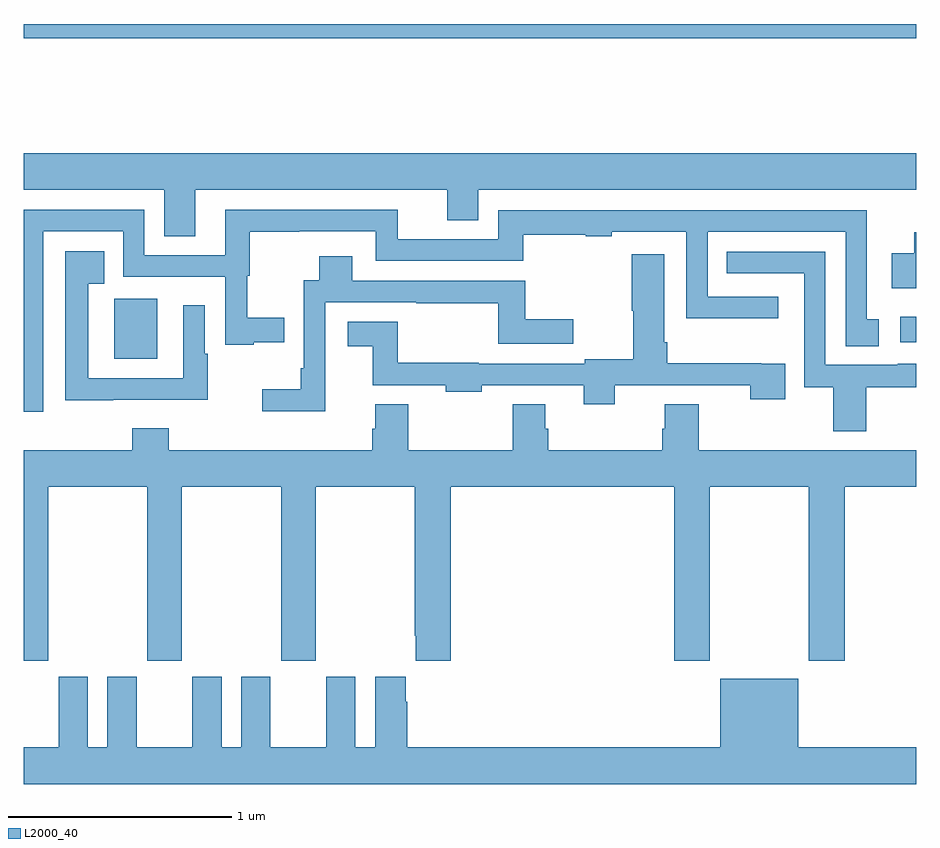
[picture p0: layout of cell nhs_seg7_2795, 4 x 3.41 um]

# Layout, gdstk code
import gdstk
lib = gdstk.Library(unit=1e-6, precision=1e-09)
def R(c, l, rs):  # rectangles x0, y0, x1, y1
    for r in rs: c.add(gdstk.rectangle(r[:2], r[2:], *l))
def P(c, l, *ps):  # polygons
    for p in ps: c.add(gdstk.Polygon(p, *l))
L2000_40 = (2000, 40)

nhs_seg7_2795 = lib.new_cell('nhs_seg7_2795')
R(nhs_seg7_2795, L2000_40, [(291.404,1026.5,291.598,1026.768), (294.93,1026.573,295,1026.688), (291,1027.936,295,1028)])
P(nhs_seg7_2795, L2000_40, [(291.769,1027.256),(292.898,1027.256),(292.898,1027.12),(293.038,1027.12),(293.038,1027.256),(295,1027.256),(295,1027.42),(291,1027.42),(291,1027.256),(291.629,1027.256),(291.629,1027.048),(291.769,1027.048)],
  [(291.087,1027.071),(291.444,1027.071),(291.444,1026.867),(291.903,1026.867),(291.903,1026.561),(292.031,1026.561),(292.031,1026.572),(292.168,1026.572),(292.168,1026.682),(292.002,1026.682),(292.002,1026.87),(292.012,1026.87),(292.012,1027.069),(292.235,1027.069),(292.235,1027.071),(292.578,1027.071),(292.578,1026.939),(293.239,1026.939),(293.239,1027.055),(293.52,1027.055),(293.52,1027.048),(293.636,1027.048),(293.636,1027.068),(293.97,1027.068),(293.97,1026.68),(294.382,1026.68),(294.382,1026.777),(294.066,1026.777),(294.066,1027.068),(294.684,1027.068),(294.684,1026.556),(294.832,1026.556),(294.832,1026.675),(294.78,1026.675),(294.78,1027.164),(293.127,1027.164),(293.127,1027.035),(292.677,1027.035),(292.677,1027.167),(291.902,1027.167),(291.902,1026.963),(291.54,1026.963),(291.54,1027.167),(291,1027.167),(291,1026.261),(291.087,1026.261)],
  [(295,1027.066),(294.992,1027.066),(294.992,1026.973),(294.891,1026.973),(294.891,1026.815),(295,1026.815)],
  [(291.401,1026.315),(291.823,1026.315),(291.823,1026.522),(291.81,1026.522),(291.81,1026.739),(291.714,1026.739),(291.714,1026.411),(291.289,1026.411),(291.289,1026.836),(291.359,1026.836),(291.359,1026.982),(291.185,1026.982),(291.185,1026.313),(291.401,1026.313)],
  [(294.777,1026.37),(295,1026.37),(295,1026.477),(294.918,1026.477),(294.918,1026.471),(294.594,1026.471),(294.594,1026.978),(294.151,1026.978),(294.151,1026.882),(294.498,1026.882),(294.498,1026.37),(294.629,1026.37),(294.629,1026.174),(294.777,1026.174)],
  [(293.65,1026.381),(294.257,1026.381),(294.257,1026.318),(294.413,1026.318),(294.413,1026.477),(294.305,1026.477),(294.305,1026.478),(293.885,1026.478),(293.885,1026.574),(293.872,1026.574),(293.872,1026.967),(293.725,1026.967),(293.725,1026.714),(293.732,1026.714),(293.732,1026.497),(293.514,1026.497),(293.514,1026.477),(293.04,1026.477),(293.04,1026.482),(292.675,1026.482),(292.675,1026.664),(292.452,1026.664),(292.452,1026.554),(292.565,1026.554),(292.565,1026.381),(292.892,1026.381),(292.892,1026.35),(293.052,1026.35),(293.052,1026.381),(293.51,1026.381),(293.51,1026.296),(293.65,1026.296)],
  [(292.352,1026.753),(292.759,1026.753),(292.759,1026.748),(293.127,1026.748),(293.127,1026.567),(293.464,1026.567),(293.464,1026.676),(293.248,1026.676),(293.248,1026.849),(292.471,1026.849),(292.471,1026.958),(292.324,1026.958),(292.324,1026.852),(292.254,1026.852),(292.254,1026.457),(292.242,1026.457),(292.242,1026.362),(292.068,1026.362),(292.068,1026.263),(292.352,1026.263)],
  [(291.108,1025.924),(291.553,1025.924),(291.553,1025.145),(291.708,1025.145),(291.708,1025.924),(292.153,1025.924),(292.153,1025.145),(292.308,1025.145),(292.308,1025.924),(292.753,1025.924),(292.753,1025.257),(292.757,1025.257),(292.757,1025.145),(292.913,1025.145),(292.913,1025.924),(293.915,1025.924),(293.915,1025.145),(294.075,1025.145),(294.075,1025.924),(294.52,1025.924),(294.52,1025.145),(294.68,1025.145),(294.68,1025.924),(295,1025.924),(295,1026.088),(294.026,1026.088),(294.026,1026.296),(293.873,1026.296),(293.873,1026.186),(293.861,1026.186),(293.861,1026.088),(293.351,1026.088),(293.351,1026.186),(293.338,1026.186),(293.338,1026.296),(293.191,1026.296),(293.191,1026.088),(292.722,1026.088),(292.722,1026.296),(292.574,1026.296),(292.574,1026.186),(292.562,1026.186),(292.562,1026.088),(291.65,1026.088),(291.65,1026.187),(291.485,1026.187),(291.485,1026.088),(291,1026.088),(291,1025.145),(291.108,1025.145)],
  [(295,1024.756),(294.472,1024.756),(294.472,1025.065),(294.122,1025.065),(294.122,1024.756),(292.718,1024.756),(292.718,1024.961),(292.711,1024.961),(292.711,1025.074),(292.574,1025.074),(292.574,1024.756),(292.486,1024.756),(292.486,1025.074),(292.355,1025.074),(292.355,1024.756),(292.105,1024.756),(292.105,1025.074),(291.974,1025.074),(291.974,1024.756),(291.886,1024.756),(291.886,1025.074),(291.755,1025.074),(291.755,1024.756),(291.505,1024.756),(291.505,1025.074),(291.374,1025.074),(291.374,1024.756),(291.286,1024.756),(291.286,1025.074),(291.155,1025.074),(291.155,1024.756),(291,1024.756),(291,1024.592),(295,1024.592)])

lib.write_gds('nhs_seg7_2795.gds')
